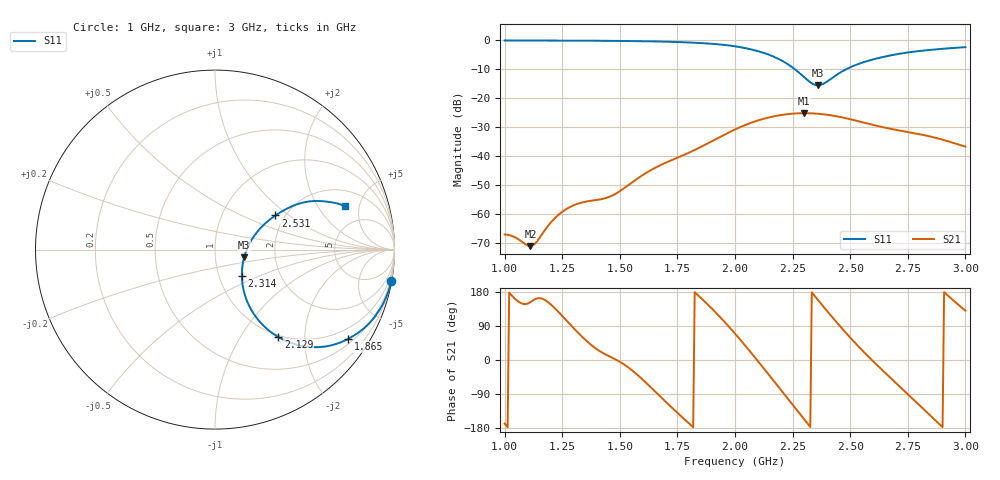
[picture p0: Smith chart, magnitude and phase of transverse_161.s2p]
! TOUCHSTONE file generated by CST MICROWAVE STUDIO
! Date and time: Tue Mar 11 13:57:16 2025
! Project name: transverse.cst
! Parameters = {Fracture=1; B=10; D=160; F=15; Feed=2.85625; L=100; M=20; R=0.384908; S=1; Theta=180; length=57.125; wave=114.25}
! Header version: 2024
! Port assignment regex: !\s*Touchstone port\s*([0-9]+)\s*=\s*(CST MWS port|CST DES external port|CST DES block port)\s*(.+)\s* \(\"(.*)\"\)(\s*mode\s*([0-9]+))?.*
! Touchstone port assignment:
! Touchstone port 1 = CST MWS port 1 ("")
! Touchstone port 2 = CST MWS port 2 ("")
# GHz S MA R 50
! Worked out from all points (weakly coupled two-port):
!   304 points, 1 GHz to 3 GHz, reference 50 ohm
!   highest |S21| = -25.09 dB at 2.3 GHz (marker M1); lowest = -70.9 dB at 1.112 GHz (marker M2)
!   lowest |S11| = -15.5 dB at 2.36 GHz (marker M3), VSWR 1.40, Z = 69.1 - j6.15 ohm
!   |S11| at or under -10 dB: 2.261 GHz to 2.481 GHz (220.4 MHz wide, 9.3 % of centre)
!   S12 and S22 are empty: the file has one direction only
!   S11 on the Smith chart (normalised r, x): 1 GHz: 0, -11; 1.865 GHz: 0.64, -3.17; 2.129 GHz: 0.97, -1.48; 2.314 GHz: 1.29, -0.39; 2.531 GHz: 1.79, +0.80; 3 GHz: 3.11, +3.61
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1  0.9977 -10.0  0.0004518 -167.5  0 0.0  0 0.0
1.0396  0.9971 -10.6  0.0004141 164.7  0 0.0  0 0.0
1.11221  0.9961 -11.6  0.000284 152.7  0 0.0  0 0.0
1.13201  0.9958 -11.9  0.0003142 160.4  0 0.0  0 0.0
1.19142  0.9946 -12.9  0.0006578 151.3  0 0.0  0 0.0
1.23762  0.9933 -13.7  0.001015 124.5  0 0.0  0 0.0
1.33663  0.9895 -15.5  0.00161 61.1  0 0.0  0 0.0
1.46865  0.9818 -18.5  0.002131 5.4  0 0.0  0 0.0
1.66667  0.9577 -24.5  0.006767 -91.1  0 0.0  0 0.0
1.86469  0.8935 -33.8  0.01549 156.4  0 0.0  0 0.0
2.0033  0.7871 -43.7  0.0296 67.3  0 0.0  0 0.0
2.12871  0.6013 -54.1  0.04505 -25.0  0 0.0  0 0.0
2.22112  0.4072 -59.0  0.05317 -95.9  0 0.0  0 0.0
2.30033  0.2321 -49.3  0.05564 -156.6  0 0.0  0 0.0
2.31353  0.2088 -44.2  0.05559 -166.6  0 0.0  0 0.0
2.33993  0.176 -29.2  0.05511 173.5  0 0.0  0 0.0
2.35974  0.168 -14.9  0.05443 158.7  0 0.0  0 0.0
2.43894  0.2515 22.3  0.04936 101.1  0 0.0  0 0.0
2.53135  0.3867 29.5  0.04087 38.6  0 0.0  0 0.0
2.66997  0.5467 28.4  0.0302 -44.2  0 0.0  0 0.0
2.84818  0.6865 22.8  0.02201 -146.9  0 0.0  0 0.0
3  0.7647 18.4  0.01477 130.2  0 0.0  0 0.0
